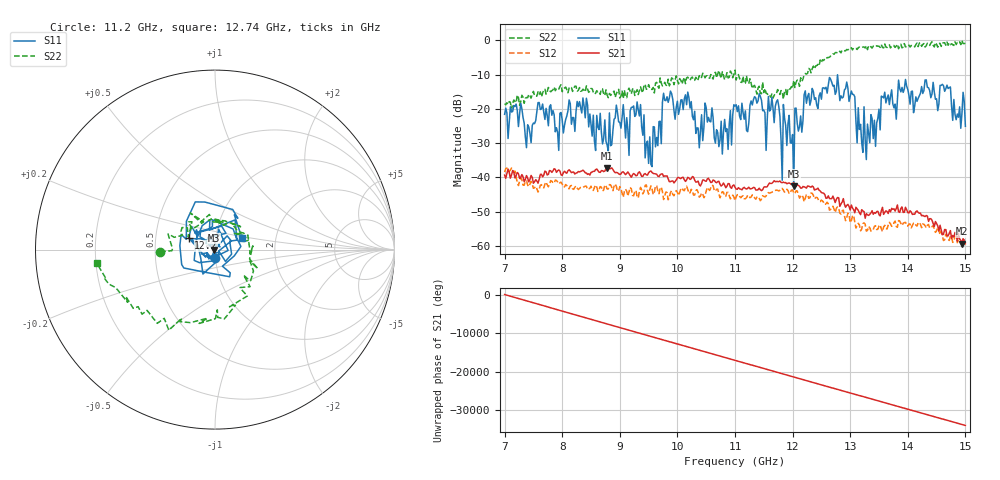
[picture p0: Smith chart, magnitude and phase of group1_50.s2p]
! 4/11/2025 3:34:30 PM
! C:\ANRITSUVNA\LELEC2350\LAB1_2025\GROUP1_50.S2P
! CHANNEL.1
! TR.MEASUREMENT
! CORRECTED.DATA
! RF.CORRECTION: FULL.TWO.PORT.CAL.PORT.1.2
! AVERAGING.OFF
! IF.BANDWIDTH: 300HZ
! SWEEPTYPE:  FREQ.SWEEP(Linear)
! Reference Plane Port Info
! PORT:  PORT1  PORT2
! DISTANCE:  0  m  0  m
! TIME:  0  s  0  s
! PHASE.OFFSET:  0 °  0 °
! LOSS:  0  dB  0  dB
! REF.LOSS:  0  dB  0  dB
! REF.FREQ:  0  Hz  0  Hz
! Power Info
! POWER:  5  dBm  5  dBm
! EFF.POWER:  5  dBm  5  dBm
# GHZ S RI R 50.0
! FREQ.GHZ  S11RE  S11IM  S21RE  S21IM  S12RE  S12IM  S22RE  S22IM
!; PortSelection: Port_12
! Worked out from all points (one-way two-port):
!   401 points, 7 GHz to 15 GHz, reference 50 ohm
!   highest |S21| = -37.20 dB at 8.78 GHz (marker M1); lowest = -59.3 dB at 14.94 GHz (marker M2)
!   lowest |S11| = -42.6 dB at 12.02 GHz (marker M3), VSWR 1.02, Z = 49.3 - j0.273 ohm
!   |S11| at or under -10 dB: start of sweep to end of sweep
!   |S22| runs from -20.1 to 0.0 dB; largest |S21 - S12| = 0.0077
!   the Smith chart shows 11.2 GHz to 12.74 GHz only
!   S11 on the Smith chart (normalised r, x): 11.2 GHz: 1.00, -0.10; 12.2 GHz: 0.74, +0.10; 12.74 GHz: 1.34, +0.18
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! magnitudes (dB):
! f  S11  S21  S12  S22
! 7 GHz  -21.6  -39.3  -38.4  -18.5
! 7.42 GHz  -25.3  -41.3  -42.7  -15.7
! 7.62 GHz  -20.2  -39.1  -42.3  -15.0
! 8.34 GHz  -21.2  -38.1  -42.8  -14.8
! 8.78 GHz  -30.5  -37.2  -43.4  -15.9
! 9.26 GHz  -22.2  -39.1  -44.0  -16.1
! 9.52 GHz  -28.2  -38.3  -43.5  -14.0
! 9.68 GHz  -23.7  -39.8  -44.8  -14.0
! 9.86 GHz  -16.8  -41.2  -45.8  -13.3
! 10.74 GHz  -29.1  -42.0  -45.9  -10.1
! 11 GHz  -19.1  -42.8  -46.8  -8.7
! 11.2 GHz  -26.3  -43.4  -45.9  -10.3
! 11.4 GHz  -17.7  -43.6  -45.6  -13.9
! 12.02 GHz  -42.6  -41.6  -44.5  -11.7
! 12.2 GHz  -15.9  -42.7  -47.1  -10.0
! 12.34 GHz  -14.0  -42.5  -44.6  -8.3
! 12.74 GHz  -15.8  -47.3  -50.2  -3.6
! 13.04 GHz  -15.7  -49.0  -51.3  -2.8
! 13.24 GHz  -19.4  -49.9  -53.3  -1.9
! 13.68 GHz  -18.7  -49.4  -53.1  -1.3
! 14.94 GHz  -21.3  -59.3  -60.1  0.0
! 15 GHz  -25.1  -59.1  -59.6  -0.8
